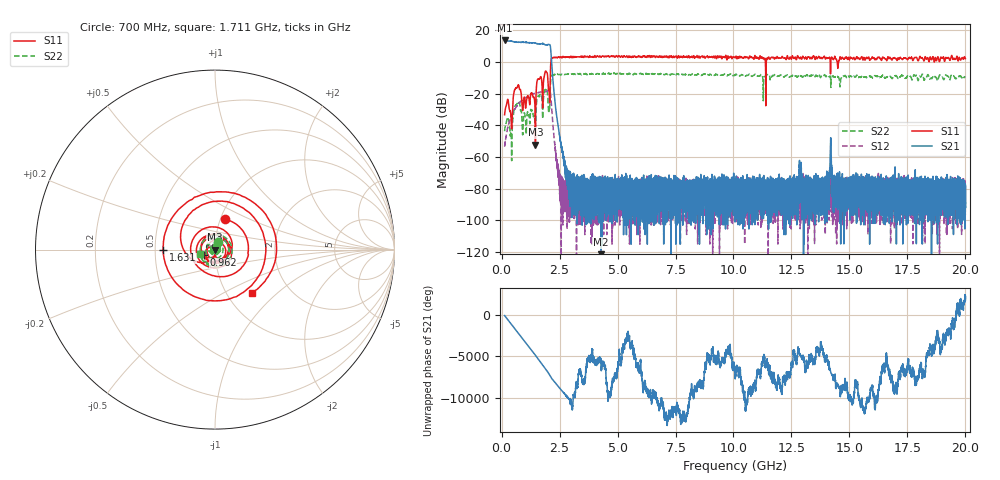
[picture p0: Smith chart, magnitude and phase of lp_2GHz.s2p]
!Created with skrf (http://scikit-rf.org).
# GHz S RI R 50.0
!freq ReS11 ImS11 ReS21 ImS21 ReS12 ImS12 ReS22 ImS22
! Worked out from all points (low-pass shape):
!   20013 points, 130 MHz to 20 GHz, reference 50 ohm
!   highest |S21| = 13.60 dB at 134 MHz (marker M1); lowest = -178.6 dB at 4.278 GHz (marker M2)
!   |S21| within 3 dB of the highest: start of sweep to 2.093 GHz
!   lowest |S11| = -52.2 dB at 1.459 GHz (marker M3), VSWR 1.00, Z = 49.8 - j0.0641 ohm
!   |S11| at or under -10 dB: start of sweep to 1.658 GHz; 1.712 GHz to 1.827 GHz (115.1 MHz wide, 6.51 % of centre); 1.99 GHz to 2.094 GHz (103.8 MHz wide, 5.08 % of centre) (the widest 3 of 4)
!   |S22| runs from -62.4 to -7.0 dB; largest |S21 - S12| = 4.8
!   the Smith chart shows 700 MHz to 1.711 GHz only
!   S11 on the Smith chart (normalised r, x): 700 MHz: 1.05, +0.37; 962 MHz: 0.88, -0.06; 1.631 GHz: 0.55, -0.00; 1.711 GHz: 1.31, -0.70
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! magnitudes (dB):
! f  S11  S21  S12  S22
! 130 MHz  -33.3  13.6  -53.0  -43.7
! 134 MHz  -32.8  13.6  -52.9  -43.1
! 422 MHz  -40.4  13.1  -34.0  -48.8
! 700 MHz  -15.0  12.5  -27.1  -26.7
! 962 MHz  -23.1  12.4  -23.3  -32.9
! 1.459 GHz  -52.2  11.9  -19.7  -46.6
! 1.631 GHz  -10.8  11.5  -19.1  -21.8
! 1.711 GHz  -10.0  11.4  -18.8  -21.0
! 2.075 GHz  -24.5  11.0  -17.9  -29.4
! 2.213 GHz  2.8  -11.2  -40.0  -8.2
! 2.574 GHz  3.0  -52.8  -74.4  -8.1
! 2.913 GHz  2.9  -86.7  -88.1  -7.9
! 3.442 GHz  3.5  -76.3  -86.7  -8.1
! 4.278 GHz  3.2  -178.6  -78.4  -7.6
! 6.754 GHz  3.3  -73.6  -93.1  -7.7
! 10.06 GHz  2.6  -89.8  -93.4  -8.3
! 13.38 GHz  2.2  -84.9  -85.5  -8.6
! 14.03 GHz  2.4  -74.4  -80.1  -8.8
! 14.19 GHz  -6.3  -48.8  -69.9  -10.2
! 14.36 GHz  3.5  -82.1  -87.5  -9.6
! 16.69 GHz  2.2  -77.2  -83.1  -8.6
! 20 GHz  2.1  -92.2  -81.9  -9.2
